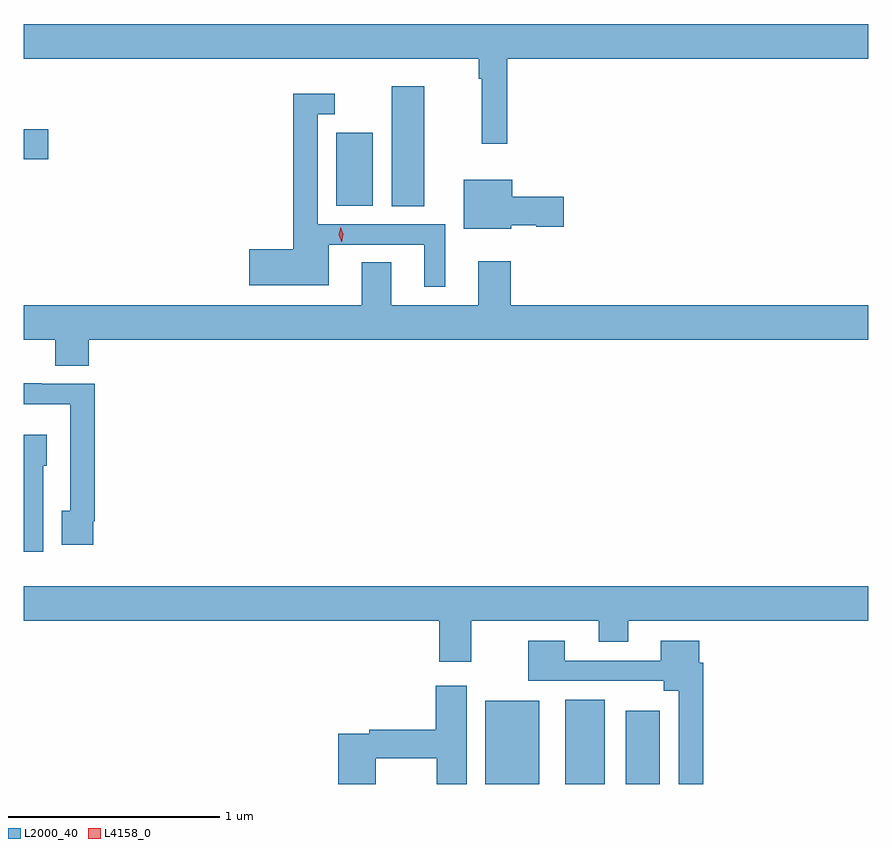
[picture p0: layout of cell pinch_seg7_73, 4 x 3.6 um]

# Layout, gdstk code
import gdstk
lib = gdstk.Library(unit=1e-6, precision=1e-09)
def R(c, l, rs):  # rectangles x0, y0, x1, y1
    for r in rs: c.add(gdstk.rectangle(r[:2], r[2:], *l))
def P(c, l, *ps):  # polygons
    for p in ps: c.add(gdstk.Polygon(p, *l))
L2000_40 = (2000, 40)
L4158_0 = (4158, 0)

pinch_seg7_73 = lib.new_cell('pinch_seg7_73')
R(pinch_seg7_73, L2000_40, [(942.14,1038.471,942.397,1038.865), (942.518,1038.471,942.706,1038.871), (942.806,1038.471,942.967,1038.817), (941.696,1041.208,941.851,1041.778), (941.435,1041.212,941.608,1041.556), (939.954,1041.43,940.069,1041.573)])
P(pinch_seg7_73, L2000_40, [(942.245,1041.908),(943.954,1041.908),(943.954,1042.072),(939.954,1042.072),(939.954,1041.908),(942.109,1041.908),(942.109,1041.812),(942.124,1041.812),(942.124,1041.504),(942.245,1041.504)],
  [(941.95,1041.123),(941.346,1041.123),(941.346,1041.645),(941.428,1041.645),(941.428,1041.742),(941.23,1041.742),(941.23,1041.005),(941.022,1041.005),(941.022,1040.834),(941.398,1040.834),(941.398,1041.027),(941.852,1041.027),(941.852,1040.826),(941.95,1040.826)],
  [(942.264,1041.119),(942.381,1041.119),(942.381,1041.112),(942.511,1041.112),(942.511,1041.254),(942.268,1041.254),(942.268,1041.334),(942.038,1041.334),(942.038,1041.101),(942.264,1041.101)],
  [(940.262,1040.576),(943.954,1040.576),(943.954,1040.74),(942.26,1040.74),(942.26,1040.947),(942.107,1040.947),(942.107,1040.74),(941.695,1040.74),(941.695,1040.942),(941.555,1040.942),(941.555,1040.74),(939.954,1040.74),(939.954,1040.576),(940.102,1040.576),(940.102,1040.452),(940.262,1040.452)],
  [(940.282,1039.717),(940.289,1039.717),(940.289,1040.367),(940.039,1040.367),(940.039,1040.369),(939.954,1040.369),(939.954,1040.27),(940.173,1040.27),(940.173,1039.766),(940.133,1039.766),(940.133,1039.605),(940.282,1039.605)],
  [(940.045,1039.98),(940.063,1039.98),(940.063,1040.125),(939.954,1040.125),(939.954,1039.572),(940.045,1039.572)],
  [(942.073,1039.244),(942.677,1039.244),(942.677,1039.145),(942.817,1039.145),(942.817,1039.244),(943.954,1039.244),(943.954,1039.408),(939.954,1039.408),(939.954,1039.244),(941.921,1039.244),(941.921,1039.05),(942.073,1039.05)],
  [(943.172,1039.046),(943.153,1039.046),(943.153,1039.15),(942.971,1039.15),(942.971,1039.056),(942.517,1039.056),(942.517,1039.15),(942.344,1039.15),(942.344,1038.96),(942.986,1038.96),(942.986,1038.914),(943.056,1038.914),(943.056,1038.471),(943.172,1038.471)],
  [(941.622,1038.592),(941.911,1038.592),(941.911,1038.471),(942.052,1038.471),(942.052,1038.937),(941.906,1038.937),(941.906,1038.728),(941.59,1038.728),(941.59,1038.708),(941.444,1038.708),(941.444,1038.471),(941.622,1038.471)])
P(pinch_seg7_73, L4158_0, [(941.459,1041.038),(941.459,1041.038),(941.447,1041.074),(941.455,1041.11),(941.455,1041.11),(941.455,1041.11),(941.467,1041.075),(941.459,1041.038)])

lib.write_gds('pinch_seg7_73.gds')
